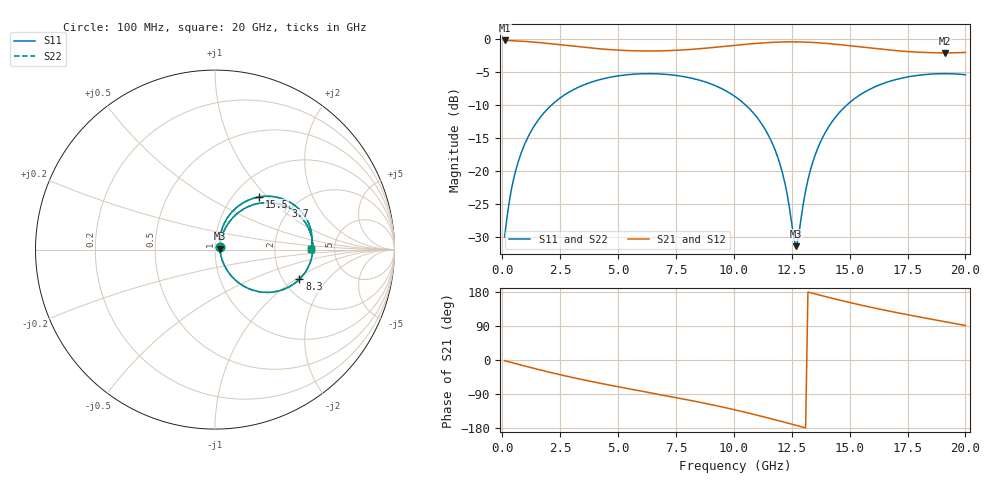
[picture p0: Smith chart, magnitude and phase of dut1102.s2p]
! Touchstone file exported from HFSS 2026.1.0
!  File:  C:/ffzhzh/LocalFiles/Ansys_Project_Files/temp_train_TSV_RDL_1102_1783303573_5512.aedt
!  Generated:  10:21:30 AM Jul  6, 2026
!  Design:  TSV_RDL
!  Project:  temp_train_TSV_RDL_1102_1783303573_5512
! Variables:
!  h_bsmrdl = 4.16um
!  h_ox = 20um
!  h_rdl = 5um
!  h_sub = 97.85um
!  h_tmrdl = 3.18um
!  h_tsv = 97.85um
!  h_via = 3um
!  l_bsmrdl = 313.88um
!  l_sub = 4327.05um
!  l_tmrdl = 715.28um
!  m_sub = 200um
!  pitch = 44.91um
!  r_tsv = 5.73um
!  s_tmrdl = 10um
!  w_bsmrdl = 26.15um
!  w_sub = 500um
!  w_tmrdl = 15.28um
!  x_tsv_center1 = 722.92um
!  x_tsv_center2 = 1062.95um
!  x_tsv_center3 = 1793.51um
!  x_tsv_center4 = 2133.54um
!  x_tsv_center5 = 2864.1um
!  x_tsv_center6 = 3204.13um
# GHz S MA R 50.000000
! Terminal data exported
! Port[1] = TM_RDL1_1_T1
! Port[2] = TM_RDL5_1_T1
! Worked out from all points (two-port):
!   200 points, 100 MHz to 20 GHz, reference 50 ohm
!   highest |S21| = -0.23 dB at 100 MHz (marker M1); lowest = -2.1 dB at 19.1 GHz (marker M2)
!   |S21| within 3 dB of the highest: start of sweep to end of sweep
!   lowest |S11| = -31.4 dB at 12.7 GHz (marker M3), VSWR 1.06, Z = 52.7 + j0.502 ohm
!   |S11| at or under -10 dB: start of sweep to 2.132 GHz; 10.5 GHz to 14.88 GHz (4.378 GHz wide, 34.5 % of centre)
!   |S22| runs from -31.4 to -5.3 dB; largest |S21 - S12| = 1.6e-14
!   S11 on the Smith chart (normalised r, x): 100 MHz: 1.05, +0.04; 3.7 GHz: 1.84, +1.13; 8.3 GHz: 2.44, -1.07; 15.5 GHz: 1.30, +0.89; 20 GHz: 3.31, +0.05
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0.1  0.03161 32.1  0.9736 -1.7  0.9736 -1.7  0.03161 32.1
! Gamma 0 0 0 0
! Port Impedance 50 0 50 0
0.5  0.08861 62.7  0.9677 -8.3  0.9677 -8.3  0.08861 62.7
1.2  0.1936 61.5  0.9511 -19.5  0.9511 -19.5  0.1936 61.5
2.2  0.3243 50.0  0.9154 -34.6  0.9154 -34.6  0.3243 50.0
3.5  0.447 34.0  0.8646 -52.3  0.8646 -52.3  0.447 34.0
3.7  0.4611 31.6  0.8576 -54.9  0.8576 -54.9  0.4611 31.6
5.3  0.5332 13.5  0.8176 -74.0  0.8176 -74.0  0.5332 13.5
6.8  0.5428 -2.8  0.8116 -91.1  0.8116 -91.1  0.5429 -2.8
8.3  0.4983 -19.4  0.8368 -108.7  0.8368 -108.7  0.4983 -19.5
10.1  0.3612 -41.1  0.8958 -132.3  0.8958 -132.3  0.3612 -41.2
11.1  0.2411 -53.4  0.9287 -147.1  0.9287 -147.1  0.2411 -53.4
11.8  0.1413 -59.5  0.9443 -158.1  0.9443 -158.1  0.1414 -59.5
12.2  0.08155 -57.4  0.9489 -164.5  0.9489 -164.5  0.08157 -57.5
12.6  0.03014 -20.0  0.9498 -171.0  0.9498 -171.0  0.03007 -20.2
12.7  0.02693 10.2  0.9495 -172.6  0.9495 -172.6  0.02682 10.0
13.1  0.07083 66.9  0.9457 -179.1  0.9457 -179.1  0.07073 67.0
13.4  0.1153 71.1  0.9404 176.1  0.9404 176.1  0.1152 71.1
14.2  0.2302 65.7  0.9182 163.6  0.9182 163.6  0.2302 65.7
15.5  0.3819 50.2  0.8682 144.8  0.8682 144.8  0.3818 50.2
16.7  0.4757 36.0  0.8242 129.2  0.8242 129.2  0.4756 36.0
19.1  0.5456 10.1  0.784 101.2  0.784 101.2  0.5455 10.0
20  0.5358 0.6  0.7897 91.0  0.7897 91.0  0.5357 0.6
